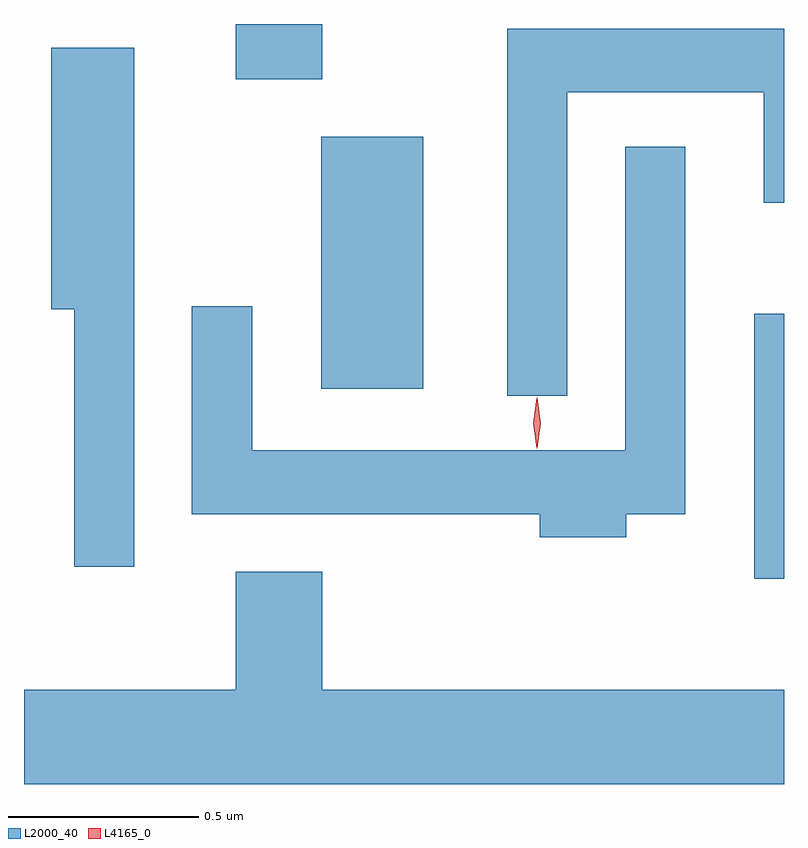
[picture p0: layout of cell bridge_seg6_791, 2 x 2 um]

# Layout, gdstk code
import gdstk
lib = gdstk.Library(unit=1e-6, precision=1e-09)
def R(c, l, rs):  # rectangles x0, y0, x1, y1
    for r in rs: c.add(gdstk.rectangle(r[:2], r[2:], *l))
def P(c, l, *ps):  # polygons
    for p in ps: c.add(gdstk.Polygon(p, *l))
L2000_40 = (2000, 40)
L4165_0 = (4165, 0)

bridge_seg6_791 = lib.new_cell('bridge_seg6_791')
R(bridge_seg6_791, L2000_40, [(491.686,1579.456,491.764,1580.154), (490.546,1579.956,490.814,1580.619), (490.321,1580.771,490.549,1580.916)])
P(bridge_seg6_791, L2000_40, [(491.194,1580.736),(491.711,1580.736),(491.711,1580.446),(491.764,1580.446),(491.764,1580.904),(491.036,1580.904),(491.036,1579.938),(491.194,1579.938)],
  [(490.054,1580.854),(489.836,1580.854),(489.836,1580.166),(489.896,1580.166),(489.896,1579.488),(490.054,1579.488)],
  [(491.349,1579.626),(491.504,1579.626),(491.504,1580.593),(491.346,1580.593),(491.346,1579.794),(490.364,1579.794),(490.364,1580.173),(490.206,1580.173),(490.206,1579.626),(491.121,1579.626),(491.121,1579.566),(491.349,1579.566)],
  [(491.764,1579.164),(490.549,1579.164),(490.549,1579.474),(490.321,1579.474),(490.321,1579.164),(489.764,1579.164),(489.764,1578.916),(491.764,1578.916)])
P(bridge_seg6_791, L4165_0, [(491.114,1579.799),(491.113,1579.8),(491.104,1579.866),(491.113,1579.932),(491.114,1579.933),(491.114,1579.932),(491.124,1579.866),(491.114,1579.8)])

lib.write_gds('bridge_seg6_791.gds')
